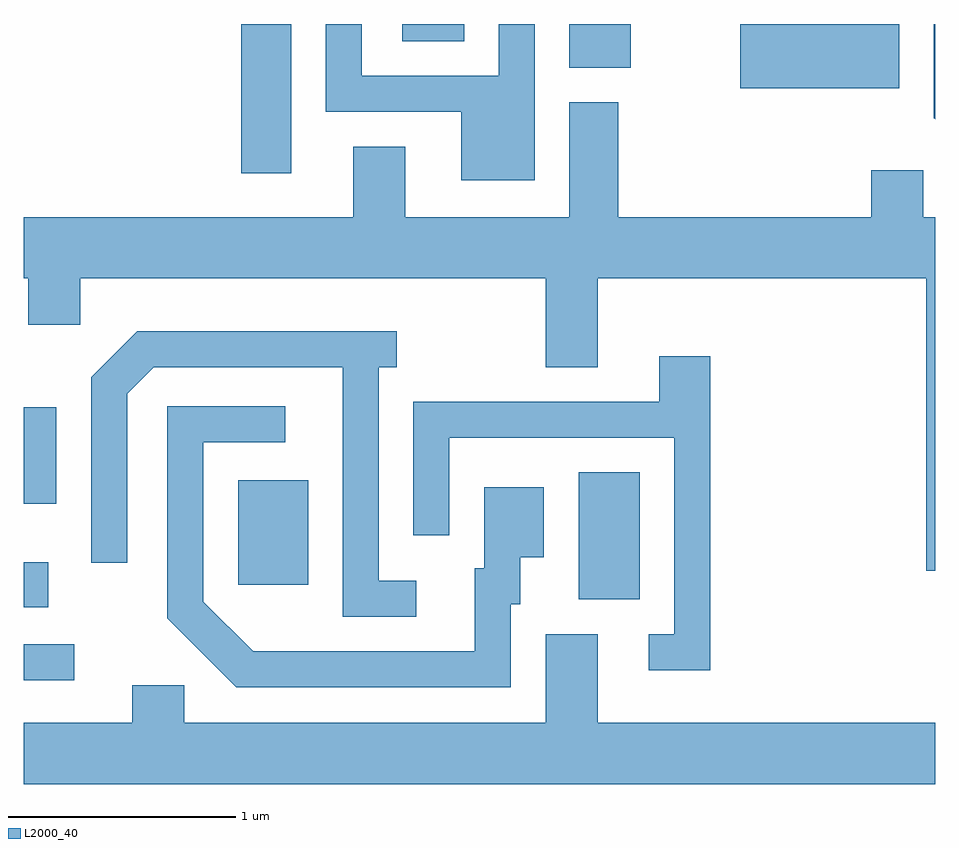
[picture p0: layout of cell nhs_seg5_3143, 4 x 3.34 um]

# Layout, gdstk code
import gdstk
lib = gdstk.Library(unit=1e-6, precision=1e-09)
def R(c, l, rs):  # rectangles x0, y0, x1, y1
    for r in rs: c.add(gdstk.rectangle(r[:2], r[2:], *l))
def P(c, l, *ps):  # polygons
    for p in ps: c.add(gdstk.Polygon(p, *l))
L2000_40 = (2000, 40)

nhs_seg5_3143 = lib.new_cell('nhs_seg5_3143')
R(nhs_seg5_3143, L2000_40, [(277.611,1517.191,277.833,1517.349), (277.611,1517.511,277.719,1517.709), (280.046,1517.546,280.314,1518.104), (278.551,1517.611,278.859,1518.069), (277.611,1517.966,277.754,1518.389), (278.566,1519.416,278.784,1520.072), (280.756,1519.791,281.454,1520.072), (280.006,1519.881,280.274,1520.072), (279.271,1519.996,279.544,1520.072)])
P(nhs_seg5_3143, L2000_40, [(279.854,1520.072),(279.696,1520.072),(279.696,1519.844),(279.094,1519.844),(279.094,1520.072),(278.936,1520.072),(278.936,1519.686),(279.531,1519.686),(279.531,1519.386),(279.854,1519.386)],
  [(281.611,1520.072),(281.606,1520.072),(281.606,1519.659),(281.611,1519.654)],
  [(281.611,1519.224),(281.559,1519.224),(281.559,1519.429),(281.331,1519.429),(281.331,1519.224),(280.219,1519.224),(280.219,1519.729),(280.006,1519.729),(280.006,1519.224),(279.284,1519.224),(279.284,1519.534),(279.056,1519.534),(279.056,1519.224),(277.611,1519.224),(277.611,1518.956),(277.631,1518.956),(277.631,1518.751),(277.859,1518.751),(277.859,1518.956),(279.901,1518.956),(279.901,1518.566),(280.129,1518.566),(280.129,1518.956),(281.571,1518.956),(281.571,1517.671),(281.611,1517.671)],
  [(279.333,1517.629),(279.169,1517.629),(279.169,1518.566),(279.248,1518.566),(279.248,1518.724),(278.109,1518.724),(277.906,1518.522),(277.906,1517.708),(278.064,1517.708),(278.064,1518.449),(278.182,1518.566),(279.011,1518.566),(279.011,1517.471),(279.333,1517.471)],
  [(280.624,1518.614),(280.401,1518.614),(280.401,1518.414),(279.321,1518.414),(279.321,1517.828),(279.479,1517.828),(279.479,1518.256),(280.466,1518.256),(280.466,1517.394),(280.353,1517.394),(280.353,1517.236),(280.624,1517.236)],
  [(279.749,1517.526),(279.789,1517.526),(279.789,1517.731),(279.894,1517.731),(279.894,1518.039),(279.631,1518.039),(279.631,1517.684),(279.591,1517.684),(279.591,1517.319),(278.617,1517.319),(278.399,1517.537),(278.399,1518.236),(278.758,1518.236),(278.758,1518.394),(278.241,1518.394),(278.241,1517.464),(278.544,1517.161),(279.749,1517.161)],
  [(281.611,1517.004),(280.129,1517.004),(280.129,1517.394),(279.901,1517.394),(279.901,1517.004),(278.314,1517.004),(278.314,1517.169),(278.086,1517.169),(278.086,1517.004),(277.611,1517.004),(277.611,1516.736),(281.611,1516.736)])

lib.write_gds('nhs_seg5_3143.gds')
